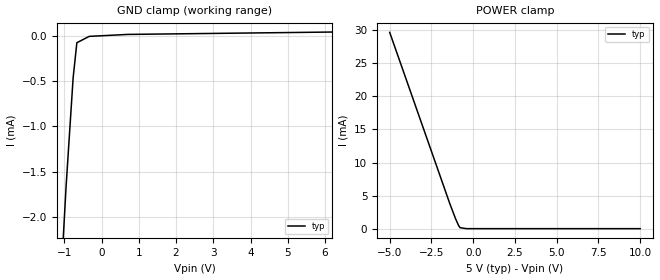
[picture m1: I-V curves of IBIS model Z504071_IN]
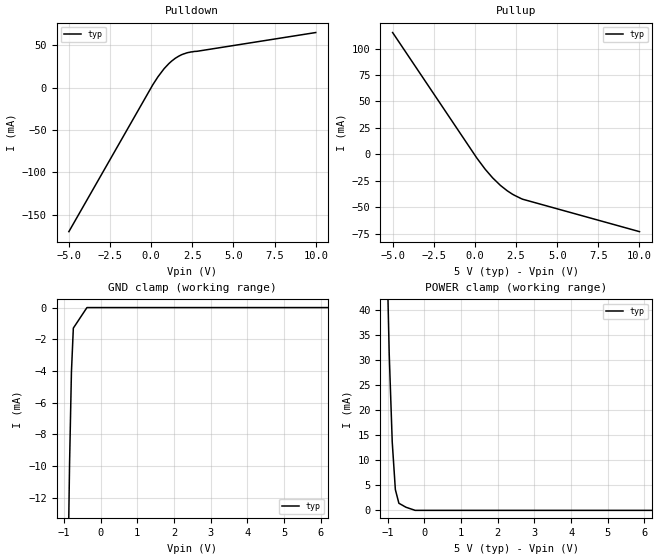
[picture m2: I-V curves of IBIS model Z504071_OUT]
| YOU ARE ONLY AUTHORIZED TO USE THIS SOFTWARE
| ACCORDING TO LICENSOR'S LICENSE RESTRICTIONS.
[IBIS Ver] 3.1
[File Name] mc54hc163aj.ibs
[File Rev] 2.0
[Source] Measured and created by ICX Technology
[Date] Friday 7/14/00 9:08:06 AM
[Copyright]
| (C) COPYRIGHT 1993-2000
| MENTOR GRAPHICS CORPORATION
| ICX STANDARD LIBRARY, ICX PROJECT MODELING,
| ICX CUSTOM MODELING, ICX VENDOR MODEL
| ALL RIGHTS RESERVED.
| THE FOLLOWING ARE TRADEMARKS OR SERVICE MARKS OF
| MENTOR GRAPHICS CORPORATION:ICX (R), ICX STANDARD
| LIBRARY(R), ICX PROJECT MODELING(R), ICX CUSTOM
| MODELING(R), qualityIBIS(TM), MODELVIEWER(TM),
| AND MODELEDITOR(TM)
| ALL COPIES OF SOFTWARE, INCLUDING BUT NOT LIMITED TO
| ANY MODIFICATIONS, ENHANCEMENTS OR DERIVATIVE WORKS,
| MUST CONTAIN ALL MENTOR GRAPHICS CORPORATION'S
| NOTICES AND LEGENDS, INCLUDING THOSE EMBEDDED IN
| SOFTWARE AND THOSE AFFIXED TO SOFTWARE MEDIUM
| AND CONTAINER, AS RECEIVED FROM MENTOR GRAPHICS
| CORPORATION.
|  ZAP Model Builder 2.7
[Component] MC54HC163AJ
[Manufacturer] OnSemiconductor
[Package]
| variable   typ   min   max
R_pkg  .212ohms NA NA
L_pkg  4.758nH NA NA
C_pkg  1.944pF NA NA
[Pin] signal_name  model_name  R_pin  L_pin C_pin
1 _CLR Z504071_IN .224 7.258n 2.683p
2 CLK Z504071_IN .216 5.258n 2.19p
3 A Z504071_IN .208 3.758n 1.697p
4 B Z504071_IN .2 2.758n 1.204p
5 C Z504071_IN .2 2.758n 1.204p
6 D Z504071_IN .208 3.758n 1.697p
7 ENP Z504071_IN .216 5.258n 2.19p
8 GND GND .224 7.258n 2.683p
9 _LOAD Z504071_IN .224 7.258n 2.683p
10 ENT Z504071_IN .216 5.258n 2.19p
11 QD Z504071_OUT .208 3.758n 1.697p
12 QC Z504071_OUT .2 2.758n 1.204p
13 QB Z504071_OUT .2 2.758n 1.204p
14 QA Z504071_OUT .208 3.758n 1.697p
15 RCO Z504071_OUT .216 5.258n 2.19p
16 VCC POWER .224 7.258n 2.683p
| Models and submodels in the file (2): Z504071_IN (Input), Z504071_OUT (Output)
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| (C) COPYRIGHT 1993-2000
| MENTOR GRAPHICS CORPORATION
| ICX STANDARD LIBRARY, ICX PROJECT MODELING,
| ICX CUSTOM MODELING, ICX VENDOR MODEL
| ALL RIGHTS RESERVED.
| THE FOLLOWING ARE TRADEMARKS OR SERVICE MARKS OF
| MENTOR GRAPHICS CORPORATION:ICX (R), ICX STANDARD
| LIBRARY(R), ICX PROJECT MODELING(R), ICX CUSTOM
| MODELING(R), qualityIBIS(TM), MODELVIEWER(TM),
| AND MODELEDITOR(TM)
| ALL COPIES OF SOFTWARE, INCLUDING BUT NOT LIMITED TO
| ANY MODIFICATIONS, ENHANCEMENTS OR DERIVATIVE WORKS,
| MUST CONTAIN ALL MENTOR GRAPHICS CORPORATION'S
| NOTICES AND LEGENDS, INCLUDING THOSE EMBEDDED IN
| SOFTWARE AND THOSE AFFIXED TO SOFTWARE MEDIUM
| AND CONTAINER, AS RECEIVED FROM MENTOR GRAPHICS
| CORPORATION.
| Model Application Version 1.89 2/18/99.
[Model] Z504071_IN
Model_type Input
Vinl = 1.000V
Vinh = 3.500V
C_comp 4.000pF NA NA
| variable typ   min   max
[Voltage Range] 5.000V NA NA
[GND Clamp Reference] 0.000V NA NA
[POWER Clamp Reference] 5.000V NA NA
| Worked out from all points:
|   GND clamp passes 1 mA (typ) near -0.85 V on its own axis
|   POWER clamp passes 1 mA (typ) near -0.97 V on its own axis
[GND Clamp]
-5V       -31.74mA   NA         NA
-952.1mV  -1.652mA   NA         NA
-764.4mV  -466.1uA   NA         NA
-664.2mV  -78.02uA   NA         NA
-332.1mV  -7.833uA   NA         NA
705.9mV   13.68uA    NA         NA
10V       58.11uA    NA         NA
[POWER Clamp]
-5V       29.68mA    NA         NA
-1.392V   3.723mA    NA         NA
-1.055V   1.492mA    NA         NA
-884mV    525.6uA    NA         NA
-790mV    149.4uA    NA         NA
-395mV    0A         NA         NA
10V       0A         NA         NA
| (C) COPYRIGHT 1993-2000
| MENTOR GRAPHICS CORPORATION
| ICX STANDARD LIBRARY, ICX PROJECT MODELING,
| ICX CUSTOM MODELING, ICX VENDOR MODEL
| ALL RIGHTS RESERVED.
| THE FOLLOWING ARE TRADEMARKS OR SERVICE MARKS OF
| MENTOR GRAPHICS CORPORATION:ICX (R), ICX STANDARD
| LIBRARY(R), ICX PROJECT MODELING(R), ICX CUSTOM
| MODELING(R), qualityIBIS(TM), MODELVIEWER(TM),
| AND MODELEDITOR(TM)
| ALL COPIES OF SOFTWARE, INCLUDING BUT NOT LIMITED TO
| ANY MODIFICATIONS, ENHANCEMENTS OR DERIVATIVE WORKS,
| MUST CONTAIN ALL MENTOR GRAPHICS CORPORATION'S
| NOTICES AND LEGENDS, INCLUDING THOSE EMBEDDED IN
| SOFTWARE AND THOSE AFFIXED TO SOFTWARE MEDIUM
| AND CONTAINER, AS RECEIVED FROM MENTOR GRAPHICS
| CORPORATION.
| Model Application Version 1.89 2/18/99.
[Model] Z504071_OUT
Model_type Output
Vref=0.000V
Rref=500.0Mohms
Cref=50.00pF
Vmeas=2.500V
C_comp 8.000pF NA NA
| variable typ   min   max
[Voltage Range] 5.000V NA NA
[POWER Clamp Reference] 5.000V NA NA
[Pullup Reference] 5.000V NA NA
[Pulldown Reference] 0.000V NA NA
[GND Clamp Reference] 0.000V NA NA
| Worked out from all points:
|   slope of the pulldown table from 0 to 0.75 V, typ, clamps not added: 35 ohm
|   slope of the pullup table from 0 to 0.75 V, typ, clamps not added: 48.2 ohm
|   POWER clamp passes 1 mA (typ) near -0.59 V on its own axis
[GND Clamp]
-5V       -676.9mA   NA         NA
-844.7mV  -9.849mA   NA         NA
-793.9mV  -4.083mA   NA         NA
-741.9mV  -1.297mA   NA         NA
-371mV    0A         NA         NA
10V       0A         NA         NA
[Pulldown]
-5V       -169.7mA   NA         NA
102.9mV   3.439mA    NA         NA
415.1mV   12.77mA    NA         NA
783.5mV   22.23mA    NA         NA
1.25V     31.32mA    NA         NA
1.841V    38.68mA    NA         NA
2.418V    42.03mA    NA         NA
10V       64.88mA    NA         NA
[Pullup]
-5V       115.2mA    NA         NA
122mV     -3.621mA   NA         NA
627mV     -14.14mA   NA         NA
1.077V    -22.24mA   NA         NA
1.552V    -29.41mA   NA         NA
1.963V    -34.46mA   NA         NA
2.277V    -37.67mA   NA         NA
2.397V    -38.69mA   NA         NA
2.812V    -41.88mA   NA         NA
2.91V     -42.5mA    NA         NA
10V       -73.12mA   NA         NA
[POWER Clamp]
-5V       1.333A     NA         NA
-956mV    31.22mA    NA         NA
-874mV    13.66mA    NA         NA
-789mV    4.155mA    NA         NA
-693mV    1.422mA    NA         NA
-498mV    616.5uA    NA         NA
-249mV    0A         NA         NA
10V       0A         NA         NA
[Ramp]
| variable typ min max
dV/dt_r 2.765/1.097n NA NA
dV/dt_f 2.765/1.174n NA NA
R_load = 500.0Ohms
